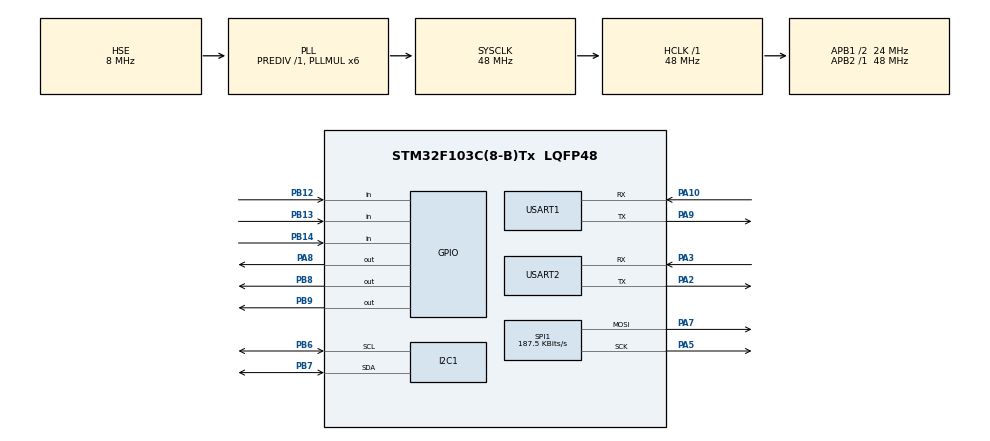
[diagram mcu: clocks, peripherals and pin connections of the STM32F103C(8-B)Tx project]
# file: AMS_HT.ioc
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Mcu.Family=STM32F1
Mcu.Name=STM32F103C(8-B)Tx
Mcu.Package=LQFP48
NVIC.PriorityGroup=NVIC_PRIORITYGROUP_4
PA10.Mode=Asynchronous
PA10.Signal=USART1_RX
PA2.Mode=Asynchronous
PA2.Signal=USART2_TX
PA3.Mode=Asynchronous
PA3.Signal=USART2_RX
PA5.Mode=TX_Only_Simplex_Unidirect_Master
PA5.Signal=SPI1_SCK
PA7.Mode=TX_Only_Simplex_Unidirect_Master
PA7.Signal=SPI1_MOSI
PA8.Signal=GPIO_Output
PA9.Mode=Asynchronous
PA9.Signal=USART1_TX
PB12.Signal=GPIO_Input
PB13.Signal=GPIO_Input
PB14.Signal=GPIO_Input
PB6.Mode=I2C
PB6.Signal=I2C1_SCL
PB7.Mode=I2C
PB7.Signal=I2C1_SDA
PB8.Signal=GPIO_Output
PB9.Signal=GPIO_Output
PC14-OSC32_IN.Mode=LSE-External-Oscillator
PC14-OSC32_IN.Signal=RCC_OSC32_IN
PC15-OSC32_OUT.Mode=LSE-External-Oscillator
PC15-OSC32_OUT.Signal=RCC_OSC32_OUT
PD0-OSC_IN.Mode=HSE-External-Oscillator
PD0-OSC_IN.Signal=RCC_OSC_IN
PD1-OSC_OUT.Mode=HSE-External-Oscillator
PD1-OSC_OUT.Signal=RCC_OSC_OUT
ProjectManager.HeapSize=0x200
ProjectManager.StackSize=0x400
ProjectManager.TargetToolchain=STM32CubeIDE
RCC.AHBFreq_Value=48000000
RCC.APB1CLKDivider=RCC_HCLK_DIV2
RCC.APB1Freq_Value=24000000
RCC.APB1TimFreq_Value=48000000
RCC.APB2Freq_Value=48000000
RCC.APB2TimFreq_Value=48000000
RCC.HCLKFreq_Value=48000000
RCC.PLLMUL=RCC_PLL_MUL6
RCC.PLLSourceVirtual=RCC_PLLSOURCE_HSE
RCC.SYSCLKFreq_VALUE=48000000
RCC.SYSCLKSource=RCC_SYSCLKSOURCE_PLLCLK
RCC.USBFreq_Value=48000000
SPI1.BaudRatePrescaler=SPI_BAUDRATEPRESCALER_256
SPI1.CalculateBaudRate=187.5 KBits/s
SPI1.Direction=SPI_DIRECTION_2LINES
SPI1.Mode=SPI_MODE_MASTER
SPI1.VirtualType=VM_MASTER
USART1.VirtualMode=VM_ASYNC
USART2.VirtualMode=VM_ASYNC
VP_SYS_VS_ND.Mode=No_Debug
board=custom

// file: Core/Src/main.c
/* USER CODE BEGIN Header */
/**
  ******************************************************************************
  * @file           : main.c
  * @brief          : Main program body
  ******************************************************************************
  * @attention
  *
  * Copyright (c) 2026 STMicroelectronics.
  * All rights reserved.
  *
  * This software is licensed under terms that can be found in the LICENSE file
  * in the root directory of this software component.
  * If no LICENSE file comes with this software, it is provided AS-IS.
  *
  ******************************************************************************
  */
/* USER CODE END Header */
#include "main.h"

/* USER CODE BEGIN Includes */
#include "max7219.h"
#include "aht20.h"
#include "bmp280.h"
#include <stdio.h>
#include <string.h>

/* USER CODE END Includes */

I2C_HandleTypeDef hi2c1;

SPI_HandleTypeDef hspi1;

UART_HandleTypeDef huart1;
UART_HandleTypeDef huart2;

/* USER CODE BEGIN PV */
uint32_t ledTickMs = 0;
uint8_t ledState = 0;
uint32_t displayUpdateTick = 0;
AHT20_Data_t aht20_data = {0, 0};
BMP280_Data_t bmp280_data = {0, 0};

/* EC11编码器变量 */
uint32_t ec11_value = 300;  /* 默认值5分钟 = 300秒 */
uint8_t ec11_countdown_mode = 0;  /* 0=正常模式，1=倒计时模式 */
uint8_t temp_threshold_mode = 0;  /* 0=正常，1=温度阈值配置模式 */
uint8_t temp_threshold_high = 65;  /* 高温阈值，默认65°C */
uint8_t temp_threshold_low = 55;   /* 低温阈值，默认55°C = 65-10 */
uint8_t temp_threshold_edit = 65;  /* 编辑中的温度阈值 */
uint32_t ec11_sw_press_start_time = 0;  /* 按键按下开始时间，用于长按检测 */
uint8_t ec11_sw_long_press_handled = 0;  /* 长按已处理标志 */
uint8_t ec11_prev_clk = 1;
uint8_t ec11_prev_sw = 1;
uint32_t ec11_sw_press_time = 0;
uint32_t ec11_last_process_time = 0;
uint8_t ec11_stable_clk = 1;
uint8_t ec11_state = 0;  /* 旋转状态机 */
uint32_t ec11_last_rotate_time = 0;  /* 上次旋转时间，用于加速计算 */
uint8_t ec11_accel = 1;  /* 旋转加速度，越快值越大 */

/* 蜂鸣器变量 */
uint8_t beep_mode = 0;  /* 0=停止，1=循环蜂鸣 */
uint32_t beep_start_time = 0;  /* 蜂鸣开始时间 */
uint32_t beep_cycle_time = 0;
uint8_t beep_state = 0;  /* 0=安静，1=响 */

/* 数码管轮播变量 */
uint8_t display_mode = 0;  /* 0=AHT20温湿度，1=BMP280温度气压 */
uint32_t display_switch_time = 0;
uint32_t system_run_time = 0;  /* 系统运行时间秒数，用于HH.MM.SS显示 */

/* ESP8266变量 */
uint8_t esp_connected = 0;  /* 0=未连接，1=已连接WiFi */
uint8_t esp_error = 0;      /* 0=正常，1=出错显示9999 */
uint8_t esp_wifi_disconnected = 0;  /* WiFi断开标记 */
uint8_t esp_waiting_response = 0;  /* 0=可发送，1=等待响应 */
uint32_t esp_init_time = 0;
uint32_t esp_step_delay_time = 0;  /* 步骤间延迟计时，独立于超时 */
uint8_t esp_init_step = 0;  /* 初始化步骤 */
uint8_t esp_retry_count = 0;  /* 重试计数 */
uint8_t esp_ip[4] = {0, 0, 0, 0};  /* IP地址四段 */
uint32_t esp_ip_last_query = 0;  /* 上次查询IP的时间 */
uint8_t esp_ip_idx = 0;  /* 当前显示的IP段索引 */
uint32_t esp_ip_switch_time = 0;  /* IP段切换时间 */
uint8_t esp_ip_query_done = 0;  /* IP查询完成标志 */
uint8_t esp_rx_buf[512];  /* 接收缓冲区 */
uint8_t esp_rx_len = 0;  /* 接收长度 */
uint32_t esp_busy_delay = 0;  /* busy状态延迟重试 */

/* HTTP响应发送状态机 */
uint8_t http_send_state = 0;  /* 0=空闲，1=已发送CIPSEND等待>，2=已发送响应 */
uint32_t http_send_time = 0;
uint8_t http_pending_link = 0;
uint32_t http_request_start = 0;  /* HTTP请求开始时间，超时自动关闭 */

/* 显示缓冲区 - 全局变量，避免栈问题，保证显示刷新快速 */
char display1_buf[16] = "0-00.00.00";
char display2_buf[16] = "025.3045.7";
uint32_t display_refresh_tick = 0;  /* 显示刷新定时器，每50ms刷新 */
uint8_t pa8_prev = 1;               /* PA8上次状态，用于EMI检测后重配MAX7219 */

/* USER CODE END PV */

void SystemClock_Config(void);
static void MX_GPIO_Init(void);
static void MX_SPI1_Init(void);
static void MX_I2C1_Init(void);
static void MX_USART2_UART_Init(void);
static void MX_USART1_UART_Init(void);

int main(void)
{

  /* MCU Configuration--------------------------------------------------------*/

  /* Reset of all peripherals, Initializes the Flash interface and the Systick. */
  HAL_Init();

  /* Configure the system clock */
  SystemClock_Config();

  /* Initialize all configured peripherals */
  MX_GPIO_Init();
  MX_SPI1_Init();
  MX_I2C1_Init();
  MX_USART2_UART_Init();
  MX_USART1_UART_Init();
  /* USER CODE BEGIN 2 */

  /* 初始化MAX7219 */
  MAX7219_Init();

  /* 初始化AHT20温湿度传感器 */
  HAL_Delay(100);
  AHT20_Init();
  HAL_Delay(100);

  /* 初始化BMP280气压温度传感器 */
  BMP280_Init();

  /* ESP8266初始化时间 */
  esp_init_time = HAL_GetTick();

  /* USER CODE END 2 */

  /* Infinite loop */
  while (1)
  {

    /* USER CODE BEGIN 3 */
    /* EC11编码器处理 - 简单可靠的边沿检测 */
    uint8_t ec11_sw = HAL_GPIO_ReadPin(GPIOB, GPIO_PIN_14);

    /* 高频率采样CLK信号 */
    uint8_t curr_clk = HAL_GPIO_ReadPin(GPIOB, GPIO_PIN_12);

    /* 只在CLK下降沿检测方向，最稳定的检测方式 */
    if (curr_clk == 0 && ec11_stable_clk == 1)
    {
      /* CLK下降沿：读取DT的值判断方向 */
      uint8_t curr_dt = HAL_GPIO_ReadPin(GPIOB, GPIO_PIN_13);

      /* 计算旋转加速度 - 时间越短加速越大 */
      uint32_t rotate_interval = HAL_GetTick() - ec11_last_rotate_time;
      ec11_last_rotate_time = HAL_GetTick();

      /* 适度加速：旋转越快步进越大 */
      if (rotate_interval < 15)
        ec11_accel = 15;    /* 极快旋转，大步进 */
      else if (rotate_interval < 30)
        ec11_accel = 12;
      else if (rotate_interval < 60)
        ec11_accel = 8;
      else if (rotate_interval < 100)
        ec11_accel = 4;
      else if (rotate_interval < 150)
        ec11_accel = 2;
      else
        ec11_accel = 1;

      /* DT=0 → 顺时针(加数值), DT=1 → 逆时针(减数值) */
      if (curr_dt == 0)
      {
        /* 顺时针旋转 - 增加数值 */
        if (temp_threshold_mode)
        {
          if (temp_threshold_edit < 100)
            temp_threshold_edit += 1;
        }
        else if (!ec11_countdown_mode && ec11_value < 9999)
        {
          if (ec11_value + ec11_accel <= 9999)
            ec11_value += ec11_accel;
          else
            ec11_value = 9999;
        }
      }
      else
      {
        /* 逆时针旋转 - 减少数值 */
        if (temp_threshold_mode)
        {
          if (temp_threshold_edit > 30)
            temp_threshold_edit -= 1;
        }
        else if (!ec11_countdown_mode && ec11_value > 0)
        {
          if (ec11_value >= ec11_accel)
            ec11_value -= ec11_accel;
          else
            ec11_value = 0;
        }
      }
    }
    ec11_stable_clk = curr_clk;

    /* 按键按下检测 - 非阻塞软件滤波，长按检测 */
    if (ec11_sw == 0 && ec11_prev_sw == 1)
    {
      /* 50ms防抖 - 不阻塞，只记录时间 */
      if (HAL_GetTick() - ec11_sw_press_time > 50)
      {
        ec11_sw_press_time = HAL_GetTick();
        ec11_sw_press_start_time = HAL_GetTick();  /* 记录按下开始时间 */
        ec11_sw_long_press_handled = 0;  /* 重置长按处理标志 */
      }
      ec11_prev_sw = 0;  /* 立即更新prev_sw，避免重复触发 */
    }

    /* 按键保持按下状态，检测长按 */
    if (ec11_sw == 0 && ec11_sw_long_press_handled == 0)
    {
      /* 长按1秒检测 */
      if (HAL_GetTick() - ec11_sw_press_start_time >= 1000)
      {
        ec11_sw_long_press_handled = 1;  /* 标记长按已处理 */

        /* 长按：进入/退出温度阈值配置模式 */
        if (!temp_threshold_mode)
        {
          /* 进入配置模式：停止倒计时和加热，加载当前阈值 */
          temp_threshold_mode = 1;
          temp_threshold_edit = temp_threshold_high;  /* 加载当前高温阈值 */

          /* 进入配置模式时暂停倒计时和加热 */
          if (ec11_countdown_mode)
          {
            HAL_GPIO_WritePin(GPIOA, GPIO_PIN_8, GPIO_PIN_SET);  /* 关闭电热丝 */
          }
        }
        else
        {
          /* 退出配置模式：保存设置 */
          temp_threshold_high = temp_threshold_edit;
          temp_threshold_low = temp_threshold_high - 10;  /* 低温=高温-10 */
          temp_threshold_mode = 0;

          /* 如果之前在倒计时模式，恢复加热（根据当前温度） */
          if (ec11_countdown_mode && ec11_value > 0)
          {
            /* 回温开启：使用新阈值判断是否需要加热 */
            if (aht20_data.temperature < temp_threshold_low)
            {
              HAL_GPIO_WritePin(GPIOA, GPIO_PIN_8, GPIO_PIN_RESET);  /* 打开电热丝 */
            }
          }
        }
      }
    }

    /* 按键释放检测 - 短按处理 */
    if (ec11_sw == 1 && ec11_prev_sw == 0)
    {
      ec11_prev_sw = 1;  /* 立即更新prev_sw */

      /* 如果长按已处理过，不处理短按 */
      if (ec11_sw_long_press_handled == 0)
      {
        /* 短按：正常操作（必须在非配置模式下） */
        if (!temp_threshold_mode)
        {
          /* 正常模式：切换倒计时模式 */
          uint8_t old_mode = ec11_countdown_mode;
          ec11_countdown_mode = !ec11_countdown_mode;

          /* 如果是启动倒计时，先检查值是否为0 */
          if (old_mode == 0 && ec11_countdown_mode == 1)
          {
            if (ec11_value == 0)
            {
              /* 值为0时不能启动倒计时，恢复为正常模式 */
              ec11_countdown_mode = 0;
            }
            else
            {
              HAL_GPIO_WritePin(GPIOA, GPIO_PIN_8, GPIO_PIN_RESET);  /* 低电平开电热丝 */
            }
          }

          /* 如果是停止倒计时，关闭电热丝 */
          if (old_mode == 1 && ec11_countdown_mode == 0)
          {
            HAL_GPIO_WritePin(GPIOA, GPIO_PIN_8, GPIO_PIN_SET);  /* 高电平关电热丝 */
          }

           /* 按下按键同时停止蜂鸣器循环 */
           if (beep_mode)
           {
             beep_mode = 0;
             beep_state = 0;
             HAL_GPIO_WritePin(GPIOB, GPIO_PIN_9, GPIO_PIN_SET);
             /* 停止蜂鸣后重置默认时间为5分钟(300秒) */
             ec11_value = 300;
           }
        }
      }
    }
    /* 如果按键状态未变化（持续按下或持续释放），不更新prev_sw */
    /* prev_sw已在按下/释放检测时立即更新 */

    /* 蜂鸣器循环模式: 2秒周期，响0.5秒停1.5秒，持续10分钟 */
    if (beep_mode)
    {
       /* 10分钟超时自动停止 */
       if (HAL_GetTick() - beep_start_time >= 600000)  /* 10分钟 = 600000ms */
       {
         beep_mode = 0;
         beep_state = 0;
         HAL_GPIO_WritePin(GPIOB, GPIO_PIN_9, GPIO_PIN_SET);
         /* 超时停止蜂鸣后重置默认时间为5分钟(300秒) */
         ec11_value = 300;
       }
      else
      {
        uint32_t cycle_pos = (HAL_GetTick() - beep_cycle_time) % 2000;
        if (cycle_pos < 500 && beep_state == 0)
        {
          /* 开始响 */
          beep_state = 1;
          HAL_GPIO_WritePin(GPIOB, GPIO_PIN_9, GPIO_PIN_RESET);
        }
        else if (cycle_pos >= 500 && beep_state == 1)
        {
          /* 停止响 */
          beep_state = 0;
          HAL_GPIO_WritePin(GPIOB, GPIO_PIN_9, GPIO_PIN_SET);
        }
      }
    }

    /* ESP8266接收处理 - 检测OK和解析IP */
    uint8_t rx_byte;
    if (__HAL_UART_GET_FLAG(&huart1, UART_FLAG_RXNE))
    {
      rx_byte = (uint8_t)(huart1.Instance->DR & (uint8_t)0x00FF);

      /* 存入接收缓冲区，换行时解析 */
      if (esp_rx_len < 511)
      {
        esp_rx_buf[esp_rx_len++] = rx_byte;
        esp_rx_buf[esp_rx_len] = 0;
      }

      /* 检测>提示符 - 必须在换行检测前，因为>后没有换行 */
      if (http_send_state == 1 && rx_byte == '>')
      {
        /* 构建完整的HTTP响应，填充空格到512字节 */
        char http_response[513];  /* 512 + null */
        memset(http_response, ' ', 512);  /* 先全部填空格 */
        http_response[512] = 0;

        /* 准备响应数据 */
        int temp_int = (int)aht20_data.temperature;
        int temp_dec = (int)((aht20_data.temperature - temp_int) * 10);
        int hum_int = (int)aht20_data.humidity;
        int hum_dec = (int)((aht20_data.humidity - hum_int) * 10);
        int bmp_temp_int = (int)bmp280_data.temperature;
        int bmp_temp_dec = (int)((bmp280_data.temperature - bmp_temp_int) * 10);
        int pres_kpa = (int)(bmp280_data.pressure / 1000);

        /* 倒计时 HH:MM:SS */
        int countdown_hours = ec11_value / 3600;
        int countdown_mins = (ec11_value % 3600) / 60;
        int countdown_secs = ec11_value % 60;

        /* 加热状态 */
        const char *heat_status = HAL_GPIO_ReadPin(GPIOA, GPIO_PIN_8) == GPIO_PIN_RESET ? "ON" : "OFF";

        /* 构建响应体 */
        char body[256];
        int body_len = snprintf(body, sizeof(body),
          "AHT20: %d.%d C, %d.%d %%RH\r\n"
          "BMP280: %d.%d C, %d kPa\r\n"
          "Countdown: %02d:%02d:%02d\r\n"
          "Temp Threshold: %d-%d C\r\n"
          "Heating: %s\r\n",
          temp_int, temp_dec, hum_int, hum_dec,
          bmp_temp_int, bmp_temp_dec, pres_kpa,
          countdown_hours, countdown_mins, countdown_secs,
          temp_threshold_low, temp_threshold_high,
          heat_status);

        /* 构建HTTP头 */
        char header[128];
        int header_len = snprintf(header, sizeof(header),
          "HTTP/1.1 200 OK\r\nContent-Length: %d\r\n\r\n", body_len);

        /* 安全复制：确保不超过512字节缓冲区 */
        int copy_len = header_len + body_len;
        if (copy_len > 511) copy_len = 511;
        memcpy(http_response, header, header_len);
        memcpy(http_response + header_len, body, copy_len - header_len);
        http_response[copy_len] = '\0';

        /* 发送完整的512字节响应 */
        HAL_UART_Transmit(&huart1, (uint8_t*)http_response, 512, 10000);

        /* 不立即关闭连接，延迟200ms后在状态2关闭 */
        http_send_time = HAL_GetTick();
        http_send_state = 2;  /* 状态2: 等待延迟后关闭 */
      }

      /* 换行时解析IP地址和检测ERROR/OK */
      if (rx_byte == '\n' || rx_byte == '\r')
      {
        if (esp_rx_len > 0)
        {
          /* 检测ERROR - 收到响应，清除等待标志 */
          if (strstr((char*)esp_rx_buf, "ERROR") != NULL)
          {
            esp_error = 1;      /* 标记出错，显示9999 */
            esp_waiting_response = 0;  /* 收到响应，清除等待标志 */
          }

          /* 检测OK表示连接成功，清除等待标志 */
          if (strstr((char*)esp_rx_buf, "OK") != NULL)
          {
            esp_connected = 1;
            esp_waiting_response = 0;  /* 收到响应，清除等待标志 */
            esp_error = 0;             /* 清除错误标记 */
          }

          /* 检测WIFI GOT IP - 只标记连接，查询IP在步骤3执行 */
          if (strstr((char*)esp_rx_buf, "GOT IP") != NULL)
          {
            esp_connected = 1;
            esp_wifi_disconnected = 0;
            /* 只有在步骤2/3等待WiFi连接时才清除等待标志 */
            if (esp_init_step == 2 || esp_init_step == 3)
            {
              esp_waiting_response = 0;
            }
          }

          /* 检测WIFI DISCONNECTED - WiFi断开（先检测，避免被CONNECTED误匹配） */
          if (strstr((char*)esp_rx_buf, "DISCONNECTED") != NULL)
          {
            esp_wifi_disconnected = 1;  /* 标记WiFi断开 */
            esp_connected = 0;          /* 清除连接标记 */
            esp_waiting_response = 0;   /* 清除等待标志 */
            esp_ip_query_done = 0;      /* 重置IP查询标志，重连后再次查询 */
            esp_init_step = 2;          /* 回退到步骤2，重新连接WiFi */
          }
          /* 检测WIFI CONNECTED - 只标记连接，不查询IP（不包含DIS的才是真正CONNECTED） */
          else if (strstr((char*)esp_rx_buf, "CONNECTED") != NULL)
          {
            esp_connected = 1;
            esp_wifi_disconnected = 0;  /* 清除断开标记 */
            /* 只有在步骤2/3等待WiFi连接时才清除等待标志，其他情况不干扰 */
            if (esp_init_step == 2 || esp_init_step == 3)
            {
              esp_waiting_response = 0;  /* 清除等待标志，继续下一步 */
            }
          }

          /* 检测busy也表示收到响应，清除等待标志，不标记错误 */
          if (strstr((char*)esp_rx_buf, "busy") != NULL)
          {
            esp_waiting_response = 0;  /* busy也是响应，清除等待标志重试 */
            esp_error = 0;
          }

          /* 检测SEND OK: HTTP响应发送成功，立即复位状态机 */
          if (strstr((char*)esp_rx_buf, "SEND OK") != NULL && http_send_state == 2)
          {
            http_send_state = 0;
            esp_rx_len = 0;
            memset(esp_rx_buf, 0, sizeof(esp_rx_buf));
          }

          /* 检测CLOSED: 连接关闭，强制复位HTTP状态机 */
          if (strstr((char*)esp_rx_buf, "CLOSED") != NULL && http_send_state != 0)
          {
            http_send_state = 0;
            esp_rx_len = 0;
            memset(esp_rx_buf, 0, sizeof(esp_rx_buf));
          }

          /* 检测CONNECT FAIL: 强制复位HTTP状态机 */
          if (strstr((char*)esp_rx_buf, "FAIL") != NULL && http_send_state != 0)
          {
            http_send_state = 0;
            esp_rx_len = 0;
            memset(esp_rx_buf, 0, sizeof(esp_rx_buf));
          }

          /* 匹配AT+CIPSTA?返回的IP格式: ip:"x.x.x.x" */
          char *ip_pos = strstr((char*)esp_rx_buf, "ip:\"");
          if (ip_pos != NULL)
          {
            int ip1, ip2, ip3, ip4;
            /* ip:\" 共4个字符(i p : "), 跳过到数字 */
            if (sscanf(ip_pos + 4, "%d.%d.%d.%d", &ip1, &ip2, &ip3, &ip4) == 4)
            {
              esp_ip[0] = (uint8_t)ip1;
              esp_ip[1] = (uint8_t)ip2;
              esp_ip[2] = (uint8_t)ip3;
              esp_ip[3] = (uint8_t)ip4;
            }
          }

          /* 也匹配+CIFSR格式: STAIP,"192.168.1.100" */
          char *ip_pos2 = strstr((char*)esp_rx_buf, "STAIP,\"");
          if (ip_pos2 != NULL)
          {
            int ip1, ip2, ip3, ip4;
            if (sscanf(ip_pos2 + 7, "%d.%d.%d.%d", &ip1, &ip2, &ip3, &ip4) == 4)
            {
              esp_ip[0] = (uint8_t)ip1;
              esp_ip[1] = (uint8_t)ip2;
              esp_ip[2] = (uint8_t)ip3;
              esp_ip[3] = (uint8_t)ip4;
            }
          }

          /* 检测HTTP请求 +IPD,x,y:GET */
          char *ipd_pos = strstr((char*)esp_rx_buf, "+IPD,");
          if (ipd_pos != NULL && http_send_state == 0)
          {
            int link_id = 0;
            if (sscanf(ipd_pos, "+IPD,%d,", &link_id) == 1)
            {
              /* 步骤1: 发送CIPSEND指令 - 固定长度512，确保足够大 */
              char http_cmd[64];
              snprintf(http_cmd, sizeof(http_cmd), "AT+CIPSEND=%d,512\r\n", link_id);
              HAL_UART_Transmit(&huart1, (uint8_t*)http_cmd, strlen(http_cmd), 100);
              http_send_state = 1;  /* 等待> */
              http_send_time = HAL_GetTick();
              http_request_start = HAL_GetTick();
              http_pending_link = link_id;
            }
          }
        }
        esp_rx_len = 0;  /* 清空缓冲区 */
      }
    }

    /* HTTP发送状态机处理 */
    if (http_send_state == 2)
    {
      /* 状态2: HTTP响应已发送，延迟200ms后关闭连接（确保数据发送完成） */
      if (HAL_GetTick() - http_send_time > 200)
      {
        char close_cmd[32];
        snprintf(close_cmd, sizeof(close_cmd), "AT+CIPCLOSE=%d\r\n", http_pending_link);
        HAL_UART_Transmit(&huart1, (uint8_t*)close_cmd, strlen(close_cmd), 1000);

        http_send_state = 0;  /* 准备下一次请求 */
        esp_rx_len = 0;
        memset(esp_rx_buf, 0, sizeof(esp_rx_buf));
      }
    }
    else if (http_send_state != 0 && (HAL_GetTick() - http_request_start > 3000))
    {
      /* 超时3秒强制关闭连接 */
      char close_cmd[32];
      snprintf(close_cmd, sizeof(close_cmd), "AT+CIPCLOSE=%d\r\n", http_pending_link);
      HAL_UART_Transmit(&huart1, (uint8_t*)close_cmd, strlen(close_cmd), 1000);

      http_send_state = 0;
      esp_rx_len = 0;
      memset(esp_rx_buf, 0, sizeof(esp_rx_buf));
    }

    /* ========== 每30秒查询一次IP地址，查询结果更新到数码管 ========== */
    /* HTTP请求处理中跳过查询，避免AT命令冲突 */
    if (esp_connected && !esp_wifi_disconnected && !esp_waiting_response && http_send_state == 0)
    {
      if (HAL_GetTick() - esp_ip_last_query > 30000)  /* 30秒一次 */
      {
        uint8_t cmd[] = "AT+CIPSTA?\r\n";
        HAL_UART_Transmit(&huart1, cmd, sizeof(cmd)-1, 1000);
        esp_waiting_response = 1;
        esp_ip_last_query = HAL_GetTick();
      }
    }

      /* 每秒读取一次传感器数据并更新数码管显示 */
      if ((HAL_GetTick() - displayUpdateTick) >= 1000)
      {
        displayUpdateTick = HAL_GetTick();
        system_run_time++;  /* 系统运行时间秒数+1 */
        AHT20_Read(&aht20_data);
        BMP280_Read(&bmp280_data);

        /* 每秒切换一次IP显示段：0=1.xxx+2.xxx, 1=3.xxx+4.xxx */
        esp_ip_idx = (esp_ip_idx + 1) % 2;

      /* 倒计时模式下每秒-1 + 温控功能（配置模式下不计时） */
      if (ec11_countdown_mode && ec11_value > 0 && !temp_threshold_mode)
      {
        ec11_value--;

        /* 温控: 温度>配置的高温阈值关闭加热，温度<配置的低温阈值重新打开 */
        if (aht20_data.temperature > (float)temp_threshold_high)
        {
          HAL_GPIO_WritePin(GPIOA, GPIO_PIN_8, GPIO_PIN_SET);  /* 关闭电热丝 */
        }
        else if (aht20_data.temperature < (float)temp_threshold_low)
        {
          HAL_GPIO_WritePin(GPIOA, GPIO_PIN_8, GPIO_PIN_RESET);  /* 打开电热丝 */
        }

        if (ec11_value == 0)
        {
          ec11_countdown_mode = 0;  /* 倒计时结束自动退出 */
          HAL_GPIO_WritePin(GPIOA, GPIO_PIN_8, GPIO_PIN_SET);  /* 关闭电热丝 */
          beep_mode = 1;  /* 启动循环蜂鸣 */
          beep_start_time = HAL_GetTick();  /* 记录蜂鸣开始时间 */
          beep_cycle_time = HAL_GetTick();
          beep_state = 1;
          HAL_GPIO_WritePin(GPIOB, GPIO_PIN_9, GPIO_PIN_RESET);  /* 低电平触发 */
        }
      }

      /* 状态字符: '0'=正常, '1'=正在加热, '9'=ESP报错, 'd'=WiFi断开 */
      char status_char;
      if (esp_wifi_disconnected)
        status_char = 'd';  /* WiFi断开 */
      else if (esp_error)
        status_char = '9';  /* ESP报错 */
      else if (ec11_countdown_mode && ec11_value > 0 && HAL_GPIO_ReadPin(GPIOA, GPIO_PIN_8) == GPIO_PIN_RESET)
        status_char = '1';  /* 正在加热 */
      else
        status_char = '0';  /* 正常状态 */

      /* 显示倒计时时间 HH.MM.SS */
      int countdown_hours = ec11_value / 3600;
      int countdown_mins = (ec11_value % 3600) / 60;
      int countdown_secs = ec11_value % 60;

      /* BMP280气压: 101325Pa = 101.3 kPa，取3位整数千帕 */
      int pres_kpa = (int)(bmp280_data.pressure / 1000);  /* Pa -> kPa */
      if (pres_kpa < 0) pres_kpa = 0;
      if (pres_kpa > 999) pres_kpa = 999;

      /* BMP280温度 */
      int bmp_temp_int = (int)bmp280_data.temperature;
      int bmp_temp_dec = (int)((bmp280_data.temperature - bmp_temp_int) * 10);
      if (bmp_temp_int < 0) bmp_temp_int = 0;
      if (bmp_temp_int > 99) bmp_temp_int = 99;

      /* AHT20温湿度 - 写入全局display2_buf */
      int temp_int = (int)aht20_data.temperature;
      int temp_dec = (int)((aht20_data.temperature - temp_int) * 10);
      int hum_int = (int)aht20_data.humidity;
      int hum_dec = (int)((aht20_data.humidity - hum_int) * 10);

      /* 范围限制 */
      if (temp_int < 0) temp_int = 0;
      if (temp_int > 999) temp_int = 999;
      if (hum_int < 0) hum_int = 0;
      if (hum_int > 999) hum_int = 999;

      /* 屏幕1: 状态码 + - + 倒计时HH.MM.SS 或 温度阈值配置 */
      if (temp_threshold_mode)
      {
        /* 温度阈值配置模式: C-HXX.LXX 显示高温和低温 */
        int low_temp = temp_threshold_edit - 10;
        if (low_temp < 20) low_temp = 20;
        sprintf(display1_buf, "C-H%02d.L%02d", temp_threshold_edit, low_temp);
        /* 配置模式下屏幕2保持正常显示 */
        sprintf(display2_buf, "T%02d.%1dH%02d.%1d", temp_int, temp_dec, hum_int, hum_dec);
      }
      else
      {
        /* 正常模式: 状态码 + 倒计时 */
        sprintf(display1_buf, "%c-%02d.%02d.%02d", status_char, countdown_hours, countdown_mins, countdown_secs);

        /* 第二个MAX7219轮播显示 */
        if (display_mode == 0)
        {
          /* 模式0: AHT20温度 + 湿度 */
          sprintf(display2_buf, "T%02d.%1dH%02d.%1d", temp_int, temp_dec, hum_int, hum_dec);
        }
        else if (display_mode == 1)
        {
          /* 模式1: BMP280温度 + 气压 - TXX.XPXXX 共8位正好 */
          sprintf(display2_buf, "T%02d.%1dP%03d", bmp_temp_int, bmp_temp_dec, pres_kpa);
        }
        else
        {
          /* 模式2: IP地址分两段显示 */
           if (esp_ip_idx == 0) {
               /* 组合1: -XXX.XXX + 空格 → 如 -192.168  */
               sprintf(display2_buf, "-%03d.%03d ", esp_ip[0], esp_ip[1]);
           } else {
               /* 组合2: 空格 + XXX.XXX- → 如  050.002- */
               sprintf(display2_buf, " %03d.%03d-", esp_ip[2], esp_ip[3]);
           }
        }
      }

      /* 每3秒切换轮播模式 */
      if (HAL_GetTick() - display_switch_time >= 3000)
      {
        display_switch_time = HAL_GetTick();
        display_mode = (display_mode + 1) % 3;  /* 0->1->2->0 循环 */
      }
    }

    /* ========== ESP8266状态机 - 命令发送逻辑（移到while循环顶层） ========== */
    if (esp_init_step <= 7)
    {
      /* busy延迟中，不发送命令 */
      if (HAL_GetTick() - esp_busy_delay < 800)
      {
      }
      /* 如果正在等待响应，不发送新命令 */
      else if (esp_waiting_response)
      {
        /* 超时8秒自动重置等待状态，防止死锁 */
        if (HAL_GetTick() - esp_init_time > 8000)
        {
          esp_waiting_response = 0;
          esp_error = 0;
        }
      }
      else
      {
        /* 空闲状态，可以发送命令 */
        if (esp_init_step == 0)
        {
          /* 步骤0: 先测试AT通信是否正常 */
          uint8_t cmd[] = "AT\r\n";
          HAL_UART_Transmit(&huart1, cmd, sizeof(cmd)-1, 1000);
          esp_waiting_response = 1;
          esp_init_time = HAL_GetTick();
          esp_init_step = 1;
        }
        else if (esp_init_step == 1)
        {
          /* 步骤1: 复位ESP8266 */
          uint8_t cmd[] = "AT+RST\r\n";
          HAL_UART_Transmit(&huart1, cmd, sizeof(cmd)-1, 1000);
          esp_waiting_response = 1;
          esp_init_time = HAL_GetTick();
          esp_init_step = 2;
        }
        else if (esp_init_step == 2)
        {
          /* 步骤2: 等待复位完成，延迟2.5秒后发送下一条命令 */
          if (HAL_GetTick() - esp_step_delay_time > 2500)
          {
            esp_init_step = 3;
          }
        }
        else if (esp_init_step == 3)
        {
          /* 步骤3: 设置为Station模式 */
          uint8_t cmd[] = "AT+CWMODE=1\r\n";
          HAL_UART_Transmit(&huart1, cmd, sizeof(cmd)-1, 1000);
          esp_waiting_response = 1;
          esp_init_time = HAL_GetTick();
          esp_init_step = 4;
        }
        else if (esp_init_step == 4)
        {
          /* 步骤4: 延迟500ms后连接WiFi */
          if (HAL_GetTick() - esp_step_delay_time > 500)
          {
            uint8_t cmd[] = "AT+CWJAP=\"Plasma\",\"3.1415926535898\"\r\n";
            HAL_UART_Transmit(&huart1, cmd, sizeof(cmd)-1, 15000);
            esp_waiting_response = 1;
            esp_init_time = HAL_GetTick();
            esp_init_step = 5;
          }
        }
        else if (esp_init_step == 5)
        {
          /* 步骤5: 等待WIFI GOT IP，然后查询IP确认 */
          if (esp_connected && !esp_wifi_disconnected)
          {
            /* 已有IP，直接进入下一步 */
            if (esp_ip[0] != 0 || esp_ip[1] != 0 || esp_ip[2] != 0 || esp_ip[3] != 0)
            {
              esp_init_step = 6;
              esp_step_delay_time = HAL_GetTick();
            }
            /* 没有IP，每隔2秒查询一次 */
            else if (HAL_GetTick() - esp_ip_last_query > 2000)
            {
              uint8_t cmd[] = "AT+CIPSTA?\r\n";
              HAL_UART_Transmit(&huart1, cmd, sizeof(cmd)-1, 1000);
              esp_waiting_response = 1;
              esp_ip_last_query = HAL_GetTick();
            }
          }
        }
        else if (esp_init_step == 6)
        {
          /* 步骤6: 开启多连接模式（延迟500ms确保WiFi稳定） */
          if (HAL_GetTick() - esp_step_delay_time > 500)
          {
            uint8_t cmd[] = "AT+CIPMUX=1\r\n";
            HAL_UART_Transmit(&huart1, cmd, sizeof(cmd)-1, 1000);
            esp_waiting_response = 1;
            esp_init_time = HAL_GetTick();
            esp_init_step = 7;
          }
        }
        else if (esp_init_step == 7)
        {
          /* 步骤7: 开启TCP服务器，端口80 */
          if (HAL_GetTick() - esp_step_delay_time > 500)
          {
            uint8_t cmd[] = "AT+CIPSERVER=1,80\r\n";
            HAL_UART_Transmit(&huart1, cmd, sizeof(cmd)-1, 1000);
            esp_waiting_response = 1;
            esp_init_time = HAL_GetTick();
            esp_init_step = 8;
          }
        }
      }
    }

    /* ========== 显示刷新独立进行，每50ms刷新一次，防止阻塞导致丢显示 ========== */
    if ((HAL_GetTick() - display_refresh_tick) >= 50)
    {
      display_refresh_tick = HAL_GetTick();

      /* 检测PA8继电器状态变化：EMI干扰后立即重配MAX7219寄存器 */
      uint8_t pa8_now = HAL_GPIO_ReadPin(GPIOA, GPIO_PIN_8);
      if (pa8_now != pa8_prev)
      {
        pa8_prev = pa8_now;
        /* 继电器状态变化后立即重配MAX7219，消除EMI导致的88888888故障 */
        MAX7219_WriteReg_Dual(MAX7219_DISPLAYTEST, 0x00, MAX7219_DISPLAYTEST, 0x00);
        MAX7219_WriteReg_Dual(MAX7219_SHUTDOWN, 0x01, MAX7219_SHUTDOWN, 0x01);
        MAX7219_WriteReg_Dual(MAX7219_SCANLIMIT, 0x07, MAX7219_SCANLIMIT, 0x07);
        MAX7219_WriteReg_Dual(MAX7219_DECODEMODE, 0x00, MAX7219_DECODEMODE, 0x00);
        MAX7219_WriteReg_Dual(MAX7219_INTENSITY, 0x01, MAX7219_INTENSITY, 0x01);
      }

      MAX7219_DisplayStr_Dual(display1_buf, display2_buf);
    }

    /* PC13 LED 0.5s闪烁 */
    if ((HAL_GetTick() - ledTickMs) >= 250)
    {
      ledTickMs = HAL_GetTick();
      ledState = !ledState;
      HAL_GPIO_WritePin(GPIOC, GPIO_PIN_13, (GPIO_PinState)ledState);
    }
  }
  /* USER CODE END 3 */
}

void SystemClock_Config(void)
{
  RCC_OscInitTypeDef RCC_OscInitStruct = {0};
  RCC_ClkInitTypeDef RCC_ClkInitStruct = {0};
  RCC_PeriphCLKInitTypeDef PeriphClkInit = {0};

  /** Initializes the RCC Oscillators according to the specified parameters
  * in the RCC_OscInitTypeDef structure.
  */
  RCC_OscInitStruct.OscillatorType = RCC_OSCILLATORTYPE_HSE;
  RCC_OscInitStruct.HSEState = RCC_HSE_ON;
  RCC_OscInitStruct.HSEPredivValue = RCC_HSE_PREDIV_DIV1;
  RCC_OscInitStruct.HSIState = RCC_HSI_ON;
  RCC_OscInitStruct.PLL.PLLState = RCC_PLL_ON;
  RCC_OscInitStruct.PLL.PLLSource = RCC_PLLSOURCE_HSE;
  RCC_OscInitStruct.PLL.PLLMUL = RCC_PLL_MUL6;
  if (HAL_RCC_OscConfig(&RCC_OscInitStruct) != HAL_OK)
  {
    Error_Handler();
  }

  /** Initializes the CPU, AHB and APB buses clocks
  */
  RCC_ClkInitStruct.ClockType = RCC_CLOCKTYPE_HCLK|RCC_CLOCKTYPE_SYSCLK
                              |RCC_CLOCKTYPE_PCLK1|RCC_CLOCKTYPE_PCLK2;
  RCC_ClkInitStruct.SYSCLKSource = RCC_SYSCLKSOURCE_PLLCLK;
  RCC_ClkInitStruct.AHBCLKDivider = RCC_SYSCLK_DIV1;
  RCC_ClkInitStruct.APB1CLKDivider = RCC_HCLK_DIV2;
  RCC_ClkInitStruct.APB2CLKDivider = RCC_HCLK_DIV1;

  if (HAL_RCC_ClockConfig(&RCC_ClkInitStruct, FLASH_LATENCY_1) != HAL_OK)
  {
    Error_Handler();
  }
  PeriphClkInit.PeriphClockSelection = RCC_PERIPHCLK_USB;
  PeriphClkInit.UsbClockSelection = RCC_USBCLKSOURCE_PLL;
  if (HAL_RCCEx_PeriphCLKConfig(&PeriphClkInit) != HAL_OK)
  {
    Error_Handler();
  }
}

static void MX_I2C1_Init(void)
{

  hi2c1.Instance = I2C1;
  hi2c1.Init.ClockSpeed = 100000;
  hi2c1.Init.DutyCycle = I2C_DUTYCYCLE_2;
  hi2c1.Init.OwnAddress1 = 0;
  hi2c1.Init.AddressingMode = I2C_ADDRESSINGMODE_7BIT;
  hi2c1.Init.DualAddressMode = I2C_DUALADDRESS_DISABLE;
  hi2c1.Init.OwnAddress2 = 0;
  hi2c1.Init.GeneralCallMode = I2C_GENERALCALL_DISABLE;
  hi2c1.Init.NoStretchMode = I2C_NOSTRETCH_DISABLE;
  if (HAL_I2C_Init(&hi2c1) != HAL_OK)
  {
    Error_Handler();
  }

}

static void MX_SPI1_Init(void)
{

  /* SPI1 parameter configuration*/
  hspi1.Instance = SPI1;
  hspi1.Init.Mode = SPI_MODE_MASTER;
  hspi1.Init.Direction = SPI_DIRECTION_2LINES;
  hspi1.Init.DataSize = SPI_DATASIZE_8BIT;
  hspi1.Init.CLKPolarity = SPI_POLARITY_LOW;
  hspi1.Init.CLKPhase = SPI_PHASE_1EDGE;
  hspi1.Init.NSS = SPI_NSS_SOFT;
  hspi1.Init.BaudRatePrescaler = SPI_BAUDRATEPRESCALER_256;
  hspi1.Init.FirstBit = SPI_FIRSTBIT_MSB;
  hspi1.Init.TIMode = SPI_TIMODE_DISABLE;
  hspi1.Init.CRCCalculation = SPI_CRCCALCULATION_DISABLE;
  hspi1.Init.CRCPolynomial = 10;
  if (HAL_SPI_Init(&hspi1) != HAL_OK)
  {
    Error_Handler();
  }

}

static void MX_USART1_UART_Init(void)
{

  huart1.Instance = USART1;
  huart1.Init.BaudRate = 115200;
  huart1.Init.WordLength = UART_WORDLENGTH_8B;
  huart1.Init.StopBits = UART_STOPBITS_1;
  huart1.Init.Parity = UART_PARITY_NONE;
  huart1.Init.Mode = UART_MODE_TX_RX;
  huart1.Init.HwFlowCtl = UART_HWCONTROL_NONE;
  huart1.Init.OverSampling = UART_OVERSAMPLING_16;
  if (HAL_UART_Init(&huart1) != HAL_OK)
  {
    Error_Handler();
  }

}

static void MX_USART2_UART_Init(void)
{

  huart2.Instance = USART2;
  huart2.Init.BaudRate = 115200;
  huart2.Init.WordLength = UART_WORDLENGTH_8B;
  huart2.Init.StopBits = UART_STOPBITS_1;
  huart2.Init.Parity = UART_PARITY_NONE;
  huart2.Init.Mode = UART_MODE_TX_RX;
  huart2.Init.HwFlowCtl = UART_HWCONTROL_NONE;
  huart2.Init.OverSampling = UART_OVERSAMPLING_16;
  if (HAL_UART_Init(&huart2) != HAL_OK)
  {
    Error_Handler();
  }

}

static void MX_GPIO_Init(void)
{
  GPIO_InitTypeDef GPIO_InitStruct = {0};

  /* GPIO Ports Clock Enable */
  __HAL_RCC_GPIOC_CLK_ENABLE();
  __HAL_RCC_GPIOD_CLK_ENABLE();
  __HAL_RCC_GPIOA_CLK_ENABLE();
  __HAL_RCC_GPIOB_CLK_ENABLE();

  /*Configure GPIO pin Output Level: PA8高电平关闭电热丝 */
  HAL_GPIO_WritePin(GPIOA, GPIO_PIN_8, GPIO_PIN_SET);

  /*Configure GPIO pin Output Level: PB9高电平关闭蜂鸣器 */
  HAL_GPIO_WritePin(GPIOB, GPIO_PIN_9, GPIO_PIN_SET);
  HAL_GPIO_WritePin(GPIOB, GPIO_PIN_8, GPIO_PIN_RESET);  /* MAX7219 CS */

  /*Configure GPIO pins : PB12 PB13 PB14 */
  GPIO_InitStruct.Pin = GPIO_PIN_12|GPIO_PIN_13|GPIO_PIN_14;
  GPIO_InitStruct.Mode = GPIO_MODE_INPUT;
  GPIO_InitStruct.Pull = GPIO_NOPULL;
  HAL_GPIO_Init(GPIOB, &GPIO_InitStruct);

  /*Configure GPIO pin : PA8 */
  GPIO_InitStruct.Pin = GPIO_PIN_8;
  GPIO_InitStruct.Mode = GPIO_MODE_OUTPUT_PP;
  GPIO_InitStruct.Pull = GPIO_NOPULL;
  GPIO_InitStruct.Speed = GPIO_SPEED_FREQ_LOW;
  HAL_GPIO_Init(GPIOA, &GPIO_InitStruct);

  /*Configure GPIO pins : PB8 PB9 */
  GPIO_InitStruct.Pin = GPIO_PIN_8|GPIO_PIN_9;
  GPIO_InitStruct.Mode = GPIO_MODE_OUTPUT_PP;
  GPIO_InitStruct.Pull = GPIO_NOPULL;
  GPIO_InitStruct.Speed = GPIO_SPEED_FREQ_LOW;
  HAL_GPIO_Init(GPIOB, &GPIO_InitStruct);

}

void Error_Handler(void)
{
  __disable_irq();
  while (1)
  {
  }
}
